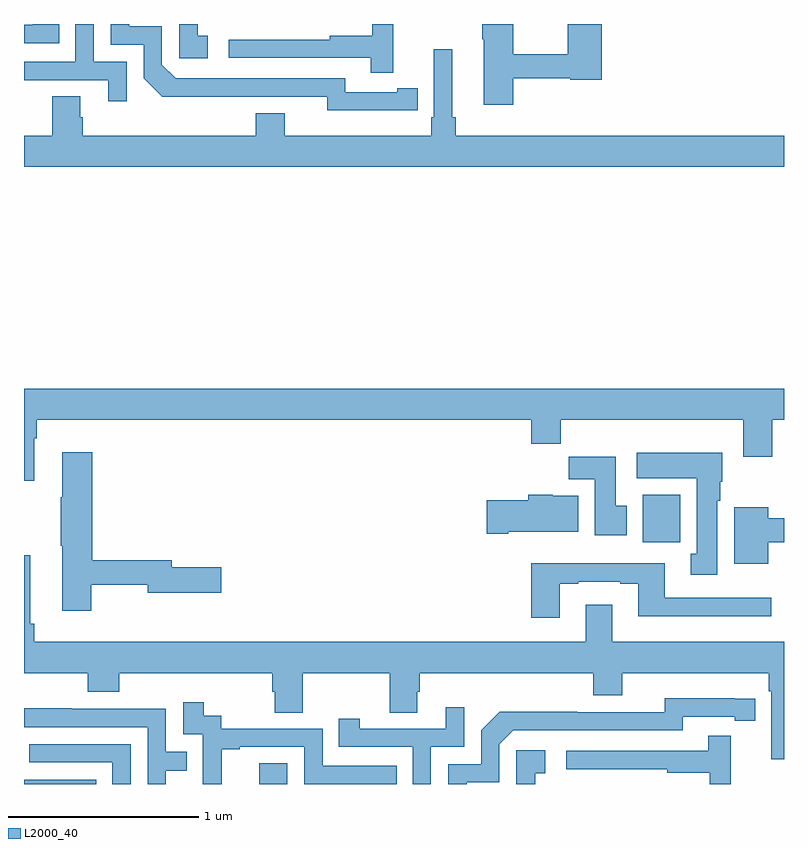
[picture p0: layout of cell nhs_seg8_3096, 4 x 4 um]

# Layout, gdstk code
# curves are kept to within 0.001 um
import gdstk
lib = gdstk.Library(unit=1e-6, precision=1e-09)
def R(c, l, rs):  # rectangles x0, y0, x1, y1
    for r in rs: c.add(gdstk.rectangle(r[:2], r[2:], *l))
def P(c, l, *ps):  # polygons
    for p in ps: c.add(gdstk.Polygon(p, *l))
L2000_40 = (2000, 40)

nhs_seg8_3096 = lib.new_cell('nhs_seg8_3096')
R(nhs_seg8_3096, L2000_40, [(303,1131.9,303.38,1131.922), (304.239,1131.9,304.386,1132.009), (306.257,1133.172,306.453,1133.422)])
P(nhs_seg8_3096, L2000_40, [(303.185,1135.9),(303.045,1135.9),(303.045,1135.896),(303,1135.896),(303,1135.8),(303.185,1135.8)],
  [(304.943,1135.9),(304.833,1135.9),(304.833,1135.838),(304.609,1135.838),(304.609,1135.818),(304.077,1135.818),(304.077,1135.722),(304.825,1135.722),(304.825,1135.644),(304.943,1135.644)],
  [(304.964,1135.446),(305.072,1135.446),(305.072,1135.562),(304.964,1135.562),(304.964,1135.542),(304.692,1135.542),(304.692,1135.614),(303.798,1135.614),(303.726,1135.686),(303.726,1135.887),(303.553,1135.887),(303.553,1135.9),(303.456,1135.9),(303.456,1135.791),(303.63,1135.791),(303.63,1135.614),(303.728,1135.517),(304.596,1135.518),(304.596,1135.445)],
  [(303.967,1135.839),(303.914,1135.839),(303.914,1135.9),(303.816,1135.9),(303.816,1135.719),(303.967,1135.719)],
  [(303.54,1135.701),(303.366,1135.701),(303.366,1135.9),(303.27,1135.9),(303.27,1135.701),(303,1135.701),(303,1135.605),(303.443,1135.605),(303.443,1135.494),(303.54,1135.494)],
  [(305.574,1135.614),(305.874,1135.614),(305.874,1135.606),(306.041,1135.606),(306.041,1135.9),(305.863,1135.9),(305.863,1135.742),(305.574,1135.742),(305.574,1135.9),(305.413,1135.9),(305.413,1135.819),(305.42,1135.819),(305.42,1135.476),(305.574,1135.476)],
  [(307,1135.312),(305.273,1135.312),(305.273,1135.408),(305.254,1135.408),(305.254,1135.768),(305.157,1135.768),(305.157,1135.408),(305.144,1135.408),(305.144,1135.312),(304.372,1135.312),(304.372,1135.429),(304.22,1135.429),(304.22,1135.312),(303.308,1135.312),(303.308,1135.41),(303.295,1135.41),(303.295,1135.52),(303.148,1135.52),(303.148,1135.312),(303,1135.312),(303,1135.148),(307,1135.148)],
  [(303.055,1133.72),(303.068,1133.72),(303.068,1133.816),(305.669,1133.816),(305.669,1133.692),(305.825,1133.692),(305.825,1133.816),(306.785,1133.816),(306.785,1133.622),(306.938,1133.622),(306.938,1133.816),(307,1133.816),(307,1133.98),(303,1133.98),(303,1133.496),(303.055,1133.496)],
  [(303.354,1132.95),(303.65,1132.95),(303.65,1132.907),(304.039,1132.907),(304.039,1133.042),(303.778,1133.042),(303.778,1133.078),(303.359,1133.078),(303.359,1133.647),(303.2,1133.647),(303.2,1133.408),(303.193,1133.408),(303.193,1133.155),(303.2,1133.155),(303.2,1132.812),(303.354,1132.812)],
  [(306.649,1133.39),(306.664,1133.39),(306.664,1133.49),(306.676,1133.49),(306.676,1133.644),(306.225,1133.644),(306.225,1133.51),(306.542,1133.51),(306.542,1133.113),(306.509,1133.113),(306.509,1133.001),(306.649,1133.001)],
  [(306.172,1133.364),(306.115,1133.364),(306.115,1133.623),(305.866,1133.623),(305.866,1133.504),(306.005,1133.504),(306.005,1133.208),(306.172,1133.208)],
  [(305.548,1133.228),(305.917,1133.228),(305.917,1133.416),(305.784,1133.416),(305.784,1133.422),(305.654,1133.422),(305.654,1133.394),(305.436,1133.394),(305.436,1133.216),(305.548,1133.216)],
  [(306.916,1133.172),(307,1133.172),(307,1133.3),(306.916,1133.3),(306.916,1133.356),(306.737,1133.356),(306.737,1133.06),(306.916,1133.06)],
  [(307,1132.648),(306.097,1132.648),(306.097,1132.843),(305.957,1132.843),(305.957,1132.648),(303.053,1132.648),(303.053,1132.744),(303.034,1132.744),(303.034,1133.104),(303,1133.104),(303,1132.484),(303.335,1132.484),(303.335,1132.385),(303.5,1132.385),(303.5,1132.484),(304.307,1132.484),(304.307,1132.386),(304.319,1132.386),(304.319,1132.276),(304.467,1132.276),(304.467,1132.484),(304.924,1132.484),(304.924,1132.276),(305.071,1132.276),(305.071,1132.386),(305.084,1132.386),(305.084,1132.484),(305.996,1132.484),(305.996,1132.367),(306.148,1132.367),(306.148,1132.484),(306.92,1132.484),(306.92,1132.388),(306.933,1132.388),(306.933,1132.029),(307,1132.029)],
  [(305.821,1132.953),(305.917,1132.953),(305.917,1132.965),(306.137,1132.965),(306.137,1132.953),(306.233,1132.953),(306.233,1132.784),(306.934,1132.784),(306.934,1132.881),(306.373,1132.881),(306.373,1133.062),(305.669,1133.062),(305.669,1132.776),(305.821,1132.776)],
  [(305.329,1131.909),(305.502,1131.909),(305.502,1132.11),(305.574,1132.182),(306.468,1132.182),(306.468,1132.254),(306.74,1132.254),(306.74,1132.234),(306.848,1132.234),(306.848,1132.35),(306.372,1132.351),(306.372,1132.278),(305.912,1132.278),(305.912,1132.28),(305.504,1132.28),(305.406,1132.182),(305.406,1132.005),(305.232,1132.005),(305.232,1131.9),(305.329,1131.9)],
  [(304.04,1132.083),(304.135,1132.083),(304.135,1132.095),(304.476,1132.095),(304.476,1131.9),(304.961,1131.9),(304.961,1131.996),(304.572,1131.996),(304.572,1132.191),(304.038,1132.191),(304.038,1132.26),(303.946,1132.26),(303.946,1132.33),(303.837,1132.33),(303.837,1132.161),(303.942,1132.161),(303.942,1131.932),(303.941,1131.932),(303.941,1131.9),(304.04,1131.9)],
  [(305.142,1132.095),(305.316,1132.095),(305.316,1132.303),(305.219,1132.303),(305.219,1132.191),(304.768,1132.191),(304.768,1132.243),(304.657,1132.243),(304.657,1132.095),(305.046,1132.095),(305.046,1131.9),(305.142,1131.9)],
  [(303.747,1131.97),(303.857,1131.97),(303.857,1132.071),(303.747,1132.071),(303.747,1132.296),(303.251,1132.296),(303.251,1132.298),(303,1132.298),(303,1132.2),(303.651,1132.2),(303.651,1131.9),(303.747,1131.9)],
  [(306.719,1132.153),(306.601,1132.153),(306.601,1132.074),(305.853,1132.074),(305.853,1131.978),(306.385,1131.978),(306.385,1131.958),(306.609,1131.958),(306.609,1131.9),(306.719,1131.9)],
  [(303.561,1132.11),(303.027,1132.11),(303.027,1132.014),(303.465,1132.014),(303.465,1131.9),(303.561,1131.9)],
  [(305.69,1131.957),(305.743,1131.957),(305.743,1132.078),(305.592,1132.078),(305.592,1131.9),(305.69,1131.9)])

lib.write_gds('nhs_seg8_3096.gds')
